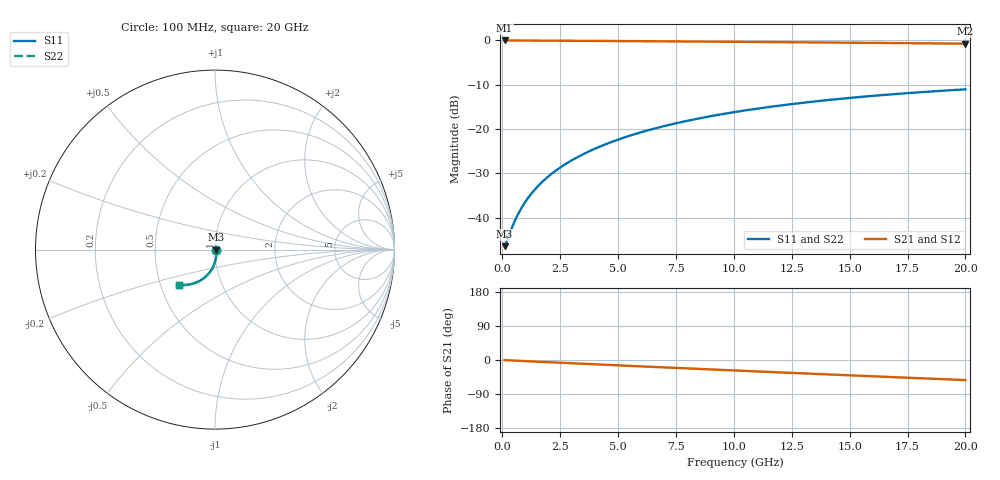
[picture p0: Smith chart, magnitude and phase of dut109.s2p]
! Touchstone file exported from HFSS 2026.1.0
!  File:  C:/ffzhzh/LocalFiles/Ansys_Project_Files/temp_train_TMRDL_109_1782982397_42984.aedt
!  Generated:  04:54:49 PM Jul  2, 2026
!  Design:  TMRDL
!  Project:  temp_train_TMRDL_109_1782982397_42984
! Variables:
!  h_bsmrdl = 2um
!  h_ox = 20um
!  h_rdl = 5um
!  h_sub = 80um
!  h_tmrdl = 5.86um
!  h_tsv = 80um
!  h_via = 3um
!  l_bsmrdl = 300um
!  l_sub = 1319.67um
!  l_tmrdl = 919.67um
!  m_sub = 200um
!  pitch = 14.39um
!  r_tsv = 6um
!  s_tmrdl = 10um
!  w_bsmrdl = 18um
!  w_sub = 500um
!  w_tmrdl = 12.32um
!  x_tsv_center1 = 925.83um
!  x_tsv_center2 = 1243.83um
!  x_tsv_center3 = 2175.82um
!  x_tsv_center4 = 2493.82um
!  x_tsv_center5 = 3425.81um
!  x_tsv_center6 = 3743.81um
# GHz S MA R 50.000000
! Terminal data exported
! Port[1] = TM_RDL1_1_T1
! Port[2] = TM_RDL1_1_T2
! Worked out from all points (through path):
!   200 points, 100 MHz to 20 GHz, reference 50 ohm
!   highest |S21| = -0.04 dB at 100 MHz (marker M1); lowest = -0.8 dB at 20 GHz (marker M2)
!   group delay of S21, straight-line fit = 7.33 ps
!   lowest |S11| = -46.4 dB at 100 MHz (marker M3), VSWR 1.01, Z = 50.5 - j0.0557 ohm
!   |S11| at or under -10 dB: start of sweep to end of sweep
!   |S22| runs from -46.4 to -11.1 dB; largest |S21 - S12| = 2.1e-14
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0.1  0.004763 -6.7  0.9953 -0.3  0.9953 -0.3  0.004763 -6.7
! Gamma 0 0 0 0
! Port Impedance 50 0 50 0
0.2  0.005474 -15.1  0.9947 -0.7  0.9947 -0.7  0.005474 -15.1
0.4  0.007512 -32.6  0.9936 -1.3  0.9936 -1.3  0.007512 -32.6
0.5  0.008678 -39.8  0.9932 -1.5  0.9932 -1.5  0.008678 -39.8
0.7  0.01116 -50.8  0.9926 -2.1  0.9926 -2.1  0.01116 -50.8
0.8  0.01246 -54.9  0.9924 -2.4  0.9924 -2.4  0.01246 -54.9
1  0.01513 -61.2  0.992 -3.0  0.992 -3.0  0.01513 -61.2
1.3  0.01926 -67.8  0.9914 -3.8  0.9914 -3.8  0.01926 -67.8
1.7  0.02493 -73.4  0.9906 -4.9  0.9906 -4.9  0.02493 -73.4
2.2  0.03223 -78.0  0.9894 -6.4  0.9894 -6.4  0.03223 -78.1
2.8  0.04123 -82.0  0.9877 -8.1  0.9877 -8.1  0.04123 -82.0
3.5  0.05202 -85.5  0.9856 -10.0  0.9856 -10.0  0.05201 -85.5
4.2  0.06304 -88.5  0.9833 -12.0  0.9833 -12.0  0.06303 -88.5
5  0.0758 -91.6  0.9805 -14.2  0.9805 -14.2  0.07579 -91.6
5.9  0.09026 -94.8  0.9772 -16.6  0.9772 -16.6  0.09024 -94.8
6.8  0.1047 -97.9  0.9739 -19.0  0.9739 -19.0  0.1047 -97.9
8.3  0.1284 -102.8  0.9681 -23.0  0.9681 -23.0  0.1284 -102.8
10.1  0.156 -108.4  0.9608 -27.8  0.9608 -27.8  0.1559 -108.4
11.7  0.1794 -113.1  0.9541 -32.0  0.9541 -32.0  0.1793 -113.2
13.4  0.2029 -118.0  0.9465 -36.4  0.9465 -36.4  0.2029 -118.0
16.7  0.2444 -127.0  0.9313 -44.8  0.9313 -44.8  0.2443 -127.0
20  0.2795 -135.5  0.9159 -53.0  0.9159 -53.0  0.2794 -135.6
